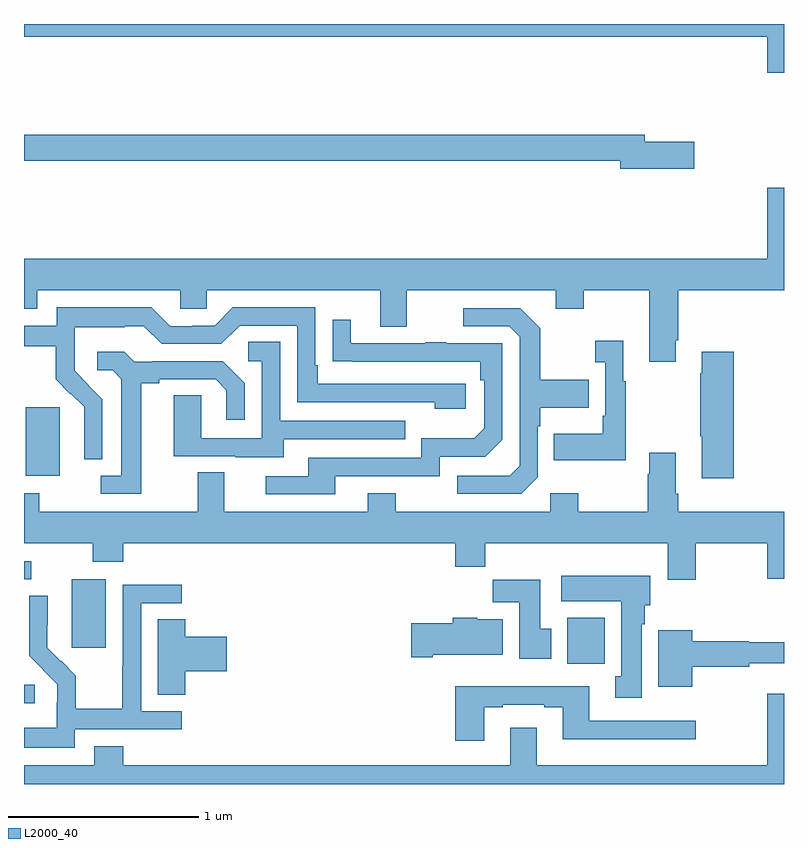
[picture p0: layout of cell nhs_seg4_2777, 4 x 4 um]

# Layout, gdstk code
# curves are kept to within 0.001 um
import gdstk
lib = gdstk.Library(unit=1e-6, precision=1e-09)
def R(c, l, rs):  # rectangles x0, y0, x1, y1
    for r in rs: c.add(gdstk.rectangle(r[:2], r[2:], *l))
def P(c, l, *ps):  # polygons
    for p in ps: c.add(gdstk.Polygon(p, *l))
L2000_40 = (2000, 40)

nhs_seg4_2777 = lib.new_cell('nhs_seg4_2777')
R(nhs_seg4_2777, L2000_40, [(257,781.325,257.056,781.422), (259.859,781.532,260.056,781.774), (257.252,781.617,257.431,781.978), (257,781.977,257.038,782.073), (257.009,782.522,257.188,782.883)])
P(nhs_seg4_2777, L2000_40, [(261,784.9),(257,784.9),(257,784.832),(260.912,784.832),(260.912,784.644),(261,784.644)],
  [(260.527,784.28),(260.266,784.28),(260.266,784.316),(257,784.316),(257,784.18),(260.138,784.18),(260.138,784.138),(260.527,784.138)],
  [(260.431,783.235),(260.444,783.235),(260.444,783.5),(261,783.5),(261,784.039),(260.912,784.039),(260.912,783.664),(257,783.664),(257,783.401),(257.071,783.401),(257.071,783.5),(257.823,783.5),(257.823,783.402),(257.961,783.402),(257.961,783.5),(258.875,783.5),(258.875,783.306),(259.015,783.306),(259.015,783.5),(259.799,783.5),(259.799,783.401),(259.947,783.401),(259.947,783.5),(260.291,783.5),(260.291,783.123),(260.431,783.123)],
  [(257.412,782.926),(257.266,783.074),(257.266,783.171),(257.268,783.171),(257.268,783.305),(257.531,783.305),(257.531,783.309),(257.631,783.309),(257.724,783.216),(258.039,783.216),(258.135,783.312),(258.438,783.312),(258.438,782.91),(259.163,782.91),(259.163,782.876),(259.324,782.876),(259.324,783.006),(258.547,783.006),(258.547,783.103),(258.534,783.103),(258.534,783.408),(258.099,783.408),(258.003,783.312),(257.885,783.312),(257.885,783.309),(257.769,783.309),(257.669,783.409),(257.172,783.409),(257.172,783.312),(257,783.312),(257,783.204),(257.167,783.204),(257.167,783.029),(257.244,782.952),(257.247,782.955),(257.318,782.885),(257.318,782.762),(257.316,782.762),(257.316,782.608),(257.412,782.608)],
  [(259.704,782.514),(259.704,782.783),(259.717,782.783),(259.717,782.879),(259.973,782.879),(259.973,783.027),(259.717,783.027),(259.717,783.299),(259.611,783.405),(259.311,783.405),(259.311,783.309),(259.554,783.309),(259.608,783.255),(259.608,782.574),(259.557,782.523),(259.281,782.523),(259.281,782.427),(259.617,782.427)],
  [(258.637,782.52),(259.188,782.52),(259.188,782.622),(259.428,782.622),(259.518,782.712),(259.518,783.219),(259.223,783.219),(259.223,783.224),(259.111,783.224),(259.111,783.219),(258.721,783.219),(258.721,783.343),(258.625,783.343),(258.625,783.124),(259.402,783.123),(259.402,783.026),(259.422,783.026),(259.422,782.772),(259.369,782.719),(259.092,782.719),(259.092,782.616),(258.497,782.616),(258.497,782.52),(258.273,782.52),(258.273,782.424),(258.637,782.424)],
  [(260.166,783.019),(260.155,783.019),(260.155,783.232),(260.007,783.232),(260.007,783.119),(260.058,783.119),(260.058,782.839),(260.046,782.839),(260.046,782.743),(259.789,782.743),(259.789,782.603),(260.166,782.603)],
  [(258.367,782.715),(259.007,782.715),(259.007,782.811),(258.348,782.811),(258.348,783.227),(258.18,783.227),(258.18,783.126),(258.252,783.126),(258.252,782.721),(257.934,782.721),(257.934,782.945),(257.789,782.945),(257.789,782.625),(258.113,782.625),(258.113,782.621),(258.367,782.621)],
  [(260.735,783.175),(260.567,783.175),(260.567,783.062),(260.56,783.062),(260.56,782.731),(260.567,782.731),(260.567,782.508),(260.735,782.508)],
  [(257.617,783.008),(257.713,783.008),(257.713,783.03),(258.008,783.03),(258.065,782.973),(258.065,782.817),(258.162,782.817),(258.162,783.01),(258.046,783.126),(257.674,783.126),(257.674,783.123),(257.58,783.123),(257.528,783.175),(257.385,783.175),(257.385,783.078),(257.466,783.078),(257.513,783.031),(257.513,782.523),(257.403,782.523),(257.403,782.427),(257.617,782.427)],
  [(260.535,782.168),(260.912,782.168),(260.912,781.98),(261,781.98),(261,782.332),(260.444,782.332),(260.444,782.428),(260.431,782.428),(260.431,782.644),(260.291,782.644),(260.291,782.531),(260.284,782.531),(260.284,782.332),(259.916,782.332),(259.916,782.431),(259.77,782.431),(259.77,782.332),(258.957,782.332),(258.957,782.431),(258.809,782.431),(258.809,782.332),(258.055,782.332),(258.055,782.54),(257.915,782.54),(257.915,782.332),(257.079,782.332),(257.079,782.431),(257,782.431),(257,782.168),(257.362,782.168),(257.362,782.069),(257.522,782.069),(257.522,782.168),(259.271,782.168),(259.271,782.044),(259.427,782.044),(259.427,782.168),(260.387,782.168),(260.387,781.974),(260.535,781.974)],
  [(260.251,781.742),(260.266,781.742),(260.266,781.842),(260.296,781.842),(260.296,781.996),(259.827,781.996),(259.827,781.862),(260.144,781.862),(260.144,781.466),(260.111,781.466),(260.111,781.353),(260.251,781.353)],
  [(259.774,781.716),(259.717,781.716),(259.717,781.975),(259.468,781.975),(259.468,781.856),(259.607,781.856),(259.607,781.56),(259.774,781.56)],
  [(257.268,781.188),(257.83,781.188),(257.83,781.284),(257.616,781.284),(257.616,781.851),(257.83,781.851),(257.83,781.95),(257.52,781.95),(257.52,781.52),(257.517,781.52),(257.517,781.297),(257.273,781.297),(257.273,781.471),(257.196,781.548),(257.193,781.545),(257.123,781.616),(257.124,781.892),(257.028,781.892),(257.028,781.574),(257.174,781.426),(257.174,781.329),(257.172,781.329),(257.172,781.195),(257,781.195),(257,781.091),(257.268,781.091)],
  [(259.15,781.58),(259.519,781.58),(259.519,781.768),(259.386,781.768),(259.386,781.774),(259.256,781.774),(259.256,781.746),(259.038,781.746),(259.038,781.568),(259.15,781.568)],
  [(257.849,781.493),(258.067,781.493),(258.067,781.676),(257.849,781.676),(257.849,781.766),(257.705,781.766),(257.705,781.369),(257.849,781.369)],
  [(260.518,781.516),(260.816,781.516),(260.816,781.535),(261,781.535),(261,781.645),(260.814,781.645),(260.814,781.652),(260.518,781.652),(260.518,781.708),(260.339,781.708),(260.339,781.412),(260.518,781.412)],
  [(259.423,781.305),(259.519,781.305),(259.519,781.317),(259.739,781.317),(259.739,781.305),(259.835,781.305),(259.835,781.136),(260.536,781.136),(260.536,781.233),(259.975,781.233),(259.975,781.414),(259.271,781.414),(259.271,781.128),(259.423,781.128)],
  [(261,781.375),(260.912,781.375),(260.912,781),(259.699,781),(259.699,781.195),(259.559,781.195),(259.559,781),(257.522,781),(257.522,781.099),(257.369,781.099),(257.369,781),(257,781),(257,780.9),(261,780.9)])

lib.write_gds('nhs_seg4_2777.gds')
